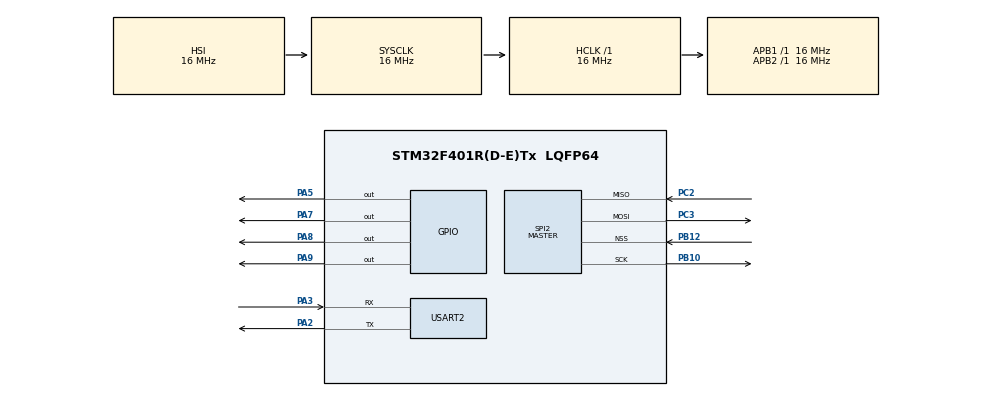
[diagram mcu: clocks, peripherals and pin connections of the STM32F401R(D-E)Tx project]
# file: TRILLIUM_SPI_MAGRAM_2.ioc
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Mcu.Family=STM32F4
Mcu.Name=STM32F401R(D-E)Tx
Mcu.Package=LQFP64
NVIC.PriorityGroup=NVIC_PRIORITYGROUP_4
PA2.Mode=Asynchronous
PA2.Signal=USART2_TX
PA3.Mode=Asynchronous
PA3.Signal=USART2_RX
PA5.Signal=GPIO_Output
PA7.Signal=GPIO_Output
PA8.Signal=GPIO_Output
PA9.Signal=GPIO_Output
PB10.Mode=Full_Duplex_Master
PB10.Signal=SPI2_SCK
PB12.Mode=NSS_Signal_Hard_Input
PB12.Signal=SPI2_NSS
PC2.Mode=Full_Duplex_Master
PC2.Signal=SPI2_MISO
PC3.Mode=Full_Duplex_Master
PC3.Signal=SPI2_MOSI
ProjectManager.HeapSize=0x200
ProjectManager.StackSize=0x400
ProjectManager.TargetToolchain=SW4STM32
RCC.AHBFreq_Value=16000000
RCC.APB1Freq_Value=16000000
RCC.APB2Freq_Value=16000000
RCC.CortexFreq_Value=16000000
RCC.HSE_VALUE=25000000
RCC.HSI_VALUE=16000000
RCC.LSE_VALUE=32768
RCC.SYSCLKFreq_VALUE=16000000
RCC.VCOOutputFreq_Value=192000000
SPI2.Direction=SPI_DIRECTION_2LINES
SPI2.Mode=SPI_MODE_MASTER
SPI2.VirtualNSS=VM_NSSHARD
SPI2.VirtualType=VM_MASTER
USART2.VirtualMode=VM_ASYNC
board=custom

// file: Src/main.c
/**
  ******************************************************************************
  * @file           : main.c
  * @brief          : Main program body
  ******************************************************************************
  ** This notice applies to any and all portions of this file
  * that are not between comment pairs USER CODE BEGIN and
  * USER CODE END. Other portions of this file, whether
  * inserted by the user or by software development tools
  * are owned by their respective copyright owners.
  *
  * COPYRIGHT(c) 2019 STMicroelectronics
  *
  * Redistribution and use in source and binary forms, with or without modification,
  * are permitted provided that the following conditions are met:
  *   1. Redistributions of source code must retain the above copyright notice,
  *      this list of conditions and the following disclaimer.
  *   2. Redistributions in binary form must reproduce the above copyright notice,
  *      this list of conditions and the following disclaimer in the documentation
  *      and/or other materials provided with the distribution.
  *   3. Neither the name of STMicroelectronics nor the names of its contributors
  *      may be used to endorse or promote products derived from this software
  *      without specific prior written permission.
  *
  * THIS SOFTWARE IS PROVIDED BY THE COPYRIGHT HOLDERS AND CONTRIBUTORS "AS IS"
  * AND ANY EXPRESS OR IMPLIED WARRANTIES, INCLUDING, BUT NOT LIMITED TO, THE
  * IMPLIED WARRANTIES OF MERCHANTABILITY AND FITNESS FOR A PARTICULAR PURPOSE ARE
  * DISCLAIMED. IN NO EVENT SHALL THE COPYRIGHT HOLDER OR CONTRIBUTORS BE LIABLE
  * FOR ANY DIRECT, INDIRECT, INCIDENTAL, SPECIAL, EXEMPLARY, OR CONSEQUENTIAL
  * DAMAGES (INCLUDING, BUT NOT LIMITED TO, PROCUREMENT OF SUBSTITUTE GOODS OR
  * SERVICES; LOSS OF USE, DATA, OR PROFITS; OR BUSINESS INTERRUPTION) HOWEVER
  * CAUSED AND ON ANY THEORY OF LIABILITY, WHETHER IN CONTRACT, STRICT LIABILITY,
  * OR TORT (INCLUDING NEGLIGENCE OR OTHERWISE) ARISING IN ANY WAY OUT OF THE USE
  * OF THIS SOFTWARE, EVEN IF ADVISED OF THE POSSIBILITY OF SUCH DAMAGE.
  *
  ******************************************************************************
  */
#include "main.h"
#include "stm32f4xx_hal.h"

/* USER CODE BEGIN Includes */
#include "TRILLIUM_SPI.h"
#include "MRAM.h"
/* USER CODE END Includes */

SPI_HandleTypeDef hspi2;

UART_HandleTypeDef huart2;

/* USER CODE BEGIN PV */
#define GPIO_MODE             0x00000003U
/* Private variables ---------------------------------------------------------*/

/* USER CODE END PV */

void SystemClock_Config(void);
static void MX_GPIO_Init(void);
static void MX_SPI2_Init(void);
static void MX_USART2_UART_Init(void);

/* USER CODE BEGIN PFP */
void print_string(char msg[], int size);
/* Private function prototypes -----------------------------------------------*/

/* USER CODE END PFP */

int main(void)
{

  /* MCU Configuration----------------------------------------------------------*/

  /* Reset of all peripherals, Initializes the Flash interface and the Systick. */
  HAL_Init();

  /* Configure the system clock */
  SystemClock_Config();

  /* Initialize all configured peripherals */
  MX_GPIO_Init();
  MX_SPI2_Init();
  MX_USART2_UART_Init();
  /* USER CODE BEGIN 2 */

  /* USER CODE END SysInit */

  /* USER CODE END 2 */

  /* Infinite loop */
  /* USER CODE BEGIN WHILE */
      Switch_IO(1);
      char c = 'a';
      char d;
      uint8_t received[] = "q";
      char *msg;
      uint32_t ad = 0x123456;
      write_enable(1);

  while (1)
  {
	  HAL_Delay(500);

	  print_string("Set slaves\n", strlen("Set slaves\n"));
	  Set_Slaves();
	  HAL_Delay(500);

	  print_string("Clear master reg\n", strlen("Clear master reg\n"));
	  Clear_Master_Register();

	  print_string("Write mem\n", strlen("Write mem\n"));
	  write_mem(ad, 1, (uint8_t *)&c);
	  read_mem(ad, 1, (uint8_t *)&d);

	  print_string((uint8_t *)&d,1);
	  print_string("\n",1);

	  // Set_Masters();
	  print_string("Switch IO 0\n", strlen("Switch IO 0\n"));
	  Switch_IO(0);

	  c++;

	  print_string("Waiting for pin to go low\n", strlen("Waiting for pin to go low\n"));

	  // Wait for pin to go low so this MCU is slave mode
	  while(HAL_GPIO_ReadPin(GPIOB, GPIO_PIN_12));

	  print_string("Waiting for pin to go high\n", strlen("Waiting for pin to go high\n"));

	  // Wait for pin to go high, means other MCU is done communicating
	  while(!HAL_GPIO_ReadPin(GPIOB, GPIO_PIN_12));

	  print_string("Switch IO 1\n", strlen("Switch IO 1\n"));
	  Switch_IO(1);

  /* USER CODE END WHILE */

  }

}

void print_string(char msg[], int size) {
	HAL_UART_Transmit(&huart2, (uint8_t *)msg, size, 0xFF);
}

void SystemClock_Config(void)
{

  RCC_OscInitTypeDef RCC_OscInitStruct;
  RCC_ClkInitTypeDef RCC_ClkInitStruct;

    /**Configure the main internal regulator output voltage
    */
  __HAL_RCC_PWR_CLK_ENABLE();

  __HAL_PWR_VOLTAGESCALING_CONFIG(PWR_REGULATOR_VOLTAGE_SCALE2);

    /**Initializes the CPU, AHB and APB busses clocks
    */
  RCC_OscInitStruct.OscillatorType = RCC_OSCILLATORTYPE_HSI;
  RCC_OscInitStruct.HSIState = RCC_HSI_ON;
  RCC_OscInitStruct.HSICalibrationValue = 16;
  RCC_OscInitStruct.PLL.PLLState = RCC_PLL_NONE;
  if (HAL_RCC_OscConfig(&RCC_OscInitStruct) != HAL_OK)
  {
    _Error_Handler(__FILE__, __LINE__);
  }

    /**Initializes the CPU, AHB and APB busses clocks
    */
  RCC_ClkInitStruct.ClockType = RCC_CLOCKTYPE_HCLK|RCC_CLOCKTYPE_SYSCLK
                              |RCC_CLOCKTYPE_PCLK1|RCC_CLOCKTYPE_PCLK2;
  RCC_ClkInitStruct.SYSCLKSource = RCC_SYSCLKSOURCE_HSI;
  RCC_ClkInitStruct.AHBCLKDivider = RCC_SYSCLK_DIV1;
  RCC_ClkInitStruct.APB1CLKDivider = RCC_HCLK_DIV1;
  RCC_ClkInitStruct.APB2CLKDivider = RCC_HCLK_DIV1;

  if (HAL_RCC_ClockConfig(&RCC_ClkInitStruct, FLASH_LATENCY_0) != HAL_OK)
  {
    _Error_Handler(__FILE__, __LINE__);
  }

    /**Configure the Systick interrupt time
    */
  HAL_SYSTICK_Config(HAL_RCC_GetHCLKFreq()/1000);

    /**Configure the Systick
    */
  HAL_SYSTICK_CLKSourceConfig(SYSTICK_CLKSOURCE_HCLK);

  /* SysTick_IRQn interrupt configuration */
  HAL_NVIC_SetPriority(SysTick_IRQn, 0, 0);
}

/* SPI2 init function */
static void MX_SPI2_Init(void)
{

  /* SPI2 parameter configuration*/
  hspi2.Instance = SPI2;
  hspi2.Init.Mode = SPI_MODE_MASTER;
  hspi2.Init.Direction = SPI_DIRECTION_2LINES;
  hspi2.Init.DataSize = SPI_DATASIZE_8BIT;
  hspi2.Init.CLKPolarity = SPI_POLARITY_LOW;
  hspi2.Init.CLKPhase = SPI_PHASE_1EDGE;
  hspi2.Init.NSS = SPI_NSS_HARD_INPUT;
  hspi2.Init.BaudRatePrescaler = SPI_BAUDRATEPRESCALER_2;
  hspi2.Init.FirstBit = SPI_FIRSTBIT_MSB;
  hspi2.Init.TIMode = SPI_TIMODE_DISABLE;
  hspi2.Init.CRCCalculation = SPI_CRCCALCULATION_DISABLE;
  hspi2.Init.CRCPolynomial = 10;
  if (HAL_SPI_Init(&hspi2) != HAL_OK)
  {
    _Error_Handler(__FILE__, __LINE__);
  }

}

/* USART2 init function */
static void MX_USART2_UART_Init(void)
{

  huart2.Instance = USART2;
  huart2.Init.BaudRate = 115200;
  huart2.Init.WordLength = UART_WORDLENGTH_8B;
  huart2.Init.StopBits = UART_STOPBITS_1;
  huart2.Init.Parity = UART_PARITY_NONE;
  huart2.Init.Mode = UART_MODE_TX_RX;
  huart2.Init.HwFlowCtl = UART_HWCONTROL_NONE;
  huart2.Init.OverSampling = UART_OVERSAMPLING_16;
  if (HAL_UART_Init(&huart2) != HAL_OK)
  {
    _Error_Handler(__FILE__, __LINE__);
  }

}

/** Configure pins as
        * Analog
        * Input
        * Output
        * EVENT_OUT
        * EXTI
*/
static void MX_GPIO_Init(void)
{

  GPIO_InitTypeDef GPIO_InitStruct;

  /* GPIO Ports Clock Enable */
  __HAL_RCC_GPIOC_CLK_ENABLE();
  __HAL_RCC_GPIOA_CLK_ENABLE();
  __HAL_RCC_GPIOB_CLK_ENABLE();

  /*Configure GPIO pin Output Level */
  HAL_GPIO_WritePin(GPIOA, GPIO_PIN_5|GPIO_PIN_7|GPIO_PIN_8|GPIO_PIN_9, GPIO_PIN_RESET);

  /*Configure GPIO pins : PA5 PA7 PA8 PA9 */
  GPIO_InitStruct.Pin = GPIO_PIN_5|GPIO_PIN_7|GPIO_PIN_8|GPIO_PIN_9;
  GPIO_InitStruct.Mode = GPIO_MODE_OUTPUT_PP;
  GPIO_InitStruct.Pull = GPIO_NOPULL;
  GPIO_InitStruct.Speed = GPIO_SPEED_FREQ_LOW;
  HAL_GPIO_Init(GPIOA, &GPIO_InitStruct);

}

void _Error_Handler(char *file, int line)
{
  while(1)
  {
  }
}

/************************ (C) COPYRIGHT STMicroelectronics *****END OF FILE****/
